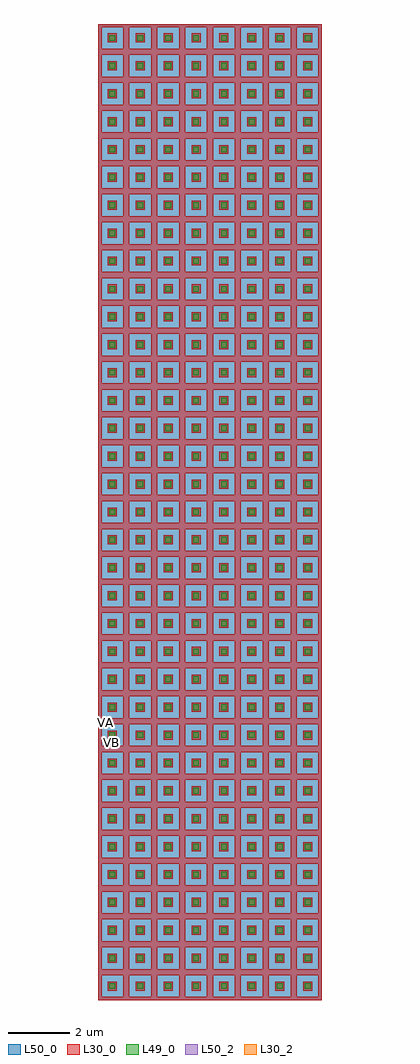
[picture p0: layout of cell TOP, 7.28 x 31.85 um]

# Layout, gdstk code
import gdstk
lib = gdstk.Library(unit=1e-6, precision=1e-09)
def R(c, l, rs):  # rectangles x0, y0, x1, y1
    for r in rs: c.add(gdstk.rectangle(r[:2], r[2:], *l))
L30_0 = (30, 0)
L30_2 = (30, 2)
L49_0 = (49, 0)
L50_0 = (50, 0)
L50_2 = (50, 2)

via_stack_1 = lib.new_cell('via_stack$1')
R(via_stack_1, L30_0, [(-0.145,-0.145,0.145,0.145)])
R(via_stack_1, L49_0, [(-0.095,-0.095,0.095,0.095)])
R(via_stack_1, L50_0, [(-0.145,-0.145,0.145,0.145)])

top_1 = lib.new_cell('TOP$1')
R(top_1, L30_0, [(-0.875,0.245,-0.775,1.155), (-0.775,0.245,-0.065,0.345), (-0.065,0.245,0.035,1.155), (-0.775,1.055,-0.065,1.155)])
top_1.add(gdstk.Reference(via_stack_1, (-0.42,0.7)))

top = lib.new_cell('TOP')
R(top, L30_2, [(-0.745,9.25,-0.42,9.34)])
R(top, L50_0, [(-0.875,0.245,6.405,32.095)])
R(top, L50_2, [(-0.62,8.585,-0.28,8.71)])
r = gdstk.Reference(top_1, (0,0)); r.repetition = gdstk.Repetition(8, 35, v1=(0.91,0), v2=(0,0.91)); top.add(r)
top.add(gdstk.Label('VA', (-0.635,9.3), layer=30, texttype=25))
top.add(gdstk.Label('VB', (-0.465,8.645), layer=50, texttype=25))

lib.write_gds('TOP.gds')
